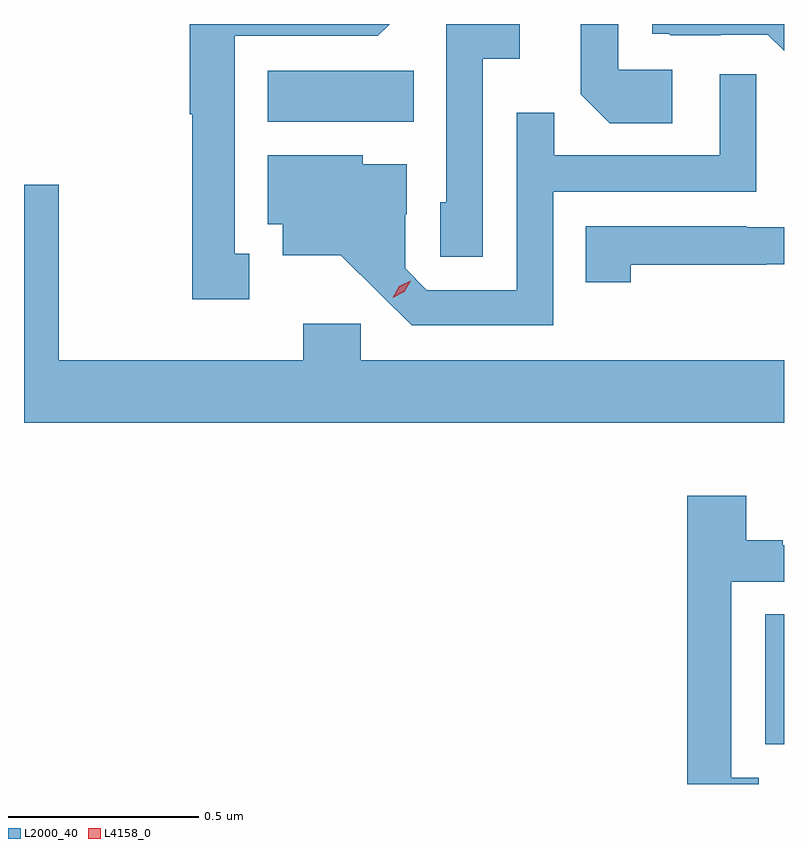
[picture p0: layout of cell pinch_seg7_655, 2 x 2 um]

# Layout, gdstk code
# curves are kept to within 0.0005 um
import gdstk
lib = gdstk.Library(unit=1e-6, precision=1e-09)
def R(c, l, rs):  # rectangles x0, y0, x1, y1
    for r in rs: c.add(gdstk.rectangle(r[:2], r[2:], *l))
def P(c, l, *ps):  # polygons
    for p in ps: c.add(gdstk.Polygon(p, *l))
L2000_40 = (2000, 40)
L4158_0 = (4158, 0)

pinch_seg7_655 = lib.new_cell('pinch_seg7_655')
R(pinch_seg7_655, L2000_40, [(151.112,1011.757,151.162,1012.1), (149.804,1013.396,150.188,1013.53)])
P(pinch_seg7_655, L2000_40, [(149.755,1013.049),(149.716,1013.049),(149.716,1013.622),(150.093,1013.622),(150.124,1013.653),(149.598,1013.653),(149.598,1013.415),(149.605,1013.415),(149.605,1012.929),(149.755,1012.929)],
  [(150.868,1013.532),(150.726,1013.532),(150.726,1013.653),(150.627,1013.653),(150.627,1013.468),(150.703,1013.392),(150.868,1013.392)],
  [(151.162,1013.653),(150.815,1013.653),(150.815,1013.627),(150.859,1013.627),(150.862,1013.624),(150.996,1013.624),(150.996,1013.625),(151.119,1013.625),(151.162,1013.582)],
  [(150.369,1013.561),(150.466,1013.561),(150.466,1013.653),(150.273,1013.653),(150.273,1013.184),(150.258,1013.184),(150.258,1013.041),(150.369,1013.041)],
  [(150.555,1013.211),(151.089,1013.211),(151.089,1013.521),(150.993,1013.521),(150.993,1013.307),(150.557,1013.307),(150.557,1013.42),(150.459,1013.42),(150.459,1012.953),(150.222,1012.953),(150.165,1013.01),(150.165,1013.152),(150.169,1013.152),(150.169,1013.284),(150.054,1013.284),(150.054,1013.308),(149.804,1013.308),(149.804,1013.126),(149.843,1013.126),(149.843,1013.045),(149.995,1013.045),(150.182,1012.86),(150.555,1012.86)],
  [(151.162,1012.768),(150.048,1012.768),(150.048,1012.864),(149.897,1012.864),(149.897,1012.768),(149.253,1012.768),(149.253,1013.23),(149.162,1013.23),(149.162,1012.604),(151.162,1012.604)],
  [(150.759,1013.02),(151.115,1013.02),(151.115,1013.021),(151.162,1013.021),(151.162,1013.118),(151.064,1013.118),(151.064,1013.121),(150.64,1013.121),(150.64,1012.974),(150.759,1012.974)],
  [(151.096,1011.669),(151.023,1011.669),(151.023,1012.185),(151.162,1012.185),(151.162,1012.281),(151.159,1012.281),(151.159,1012.294),(151.063,1012.294),(151.063,1012.411),(150.907,1012.411),(150.907,1011.653),(151.096,1011.653)])
P(pinch_seg7_655, L4158_0, [(150.132,1012.933),(150.132,1012.933),(150.149,1012.963),(150.18,1012.978),(150.18,1012.978),(150.18,1012.978),(150.163,1012.948),(150.133,1012.933)])

lib.write_gds('pinch_seg7_655.gds')
